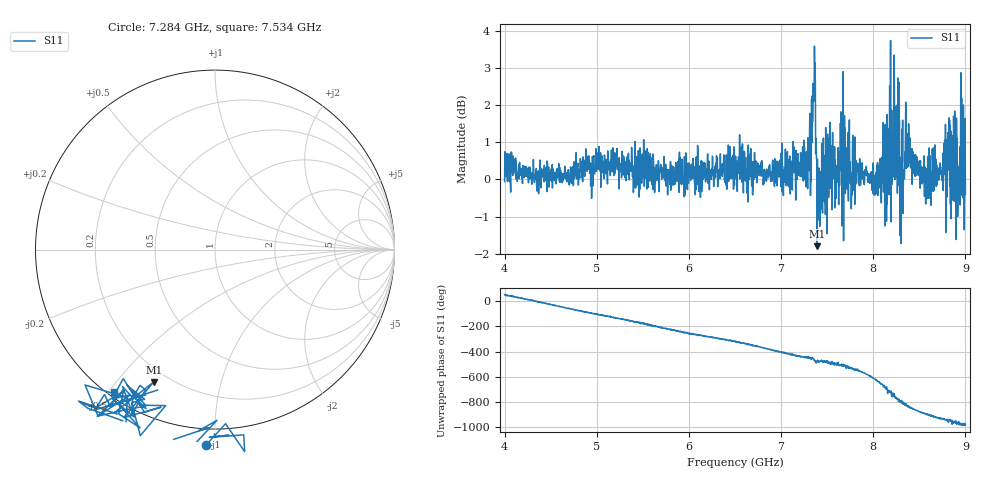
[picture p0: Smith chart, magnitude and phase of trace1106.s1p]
! Created with skrf 1.8.0 (http://scikit-rf.org).
# Hz S RI R 50.0
!freq ReS11 ImS11
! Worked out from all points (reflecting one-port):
!   1601 points, 4 GHz to 9 GHz, reference 50 ohm
!   lowest |S11| = -1.8 dB at 7.391 GHz (marker M1), VSWR 9.69, Z = 7.23 - j31.5 ohm
!   phase of S11 starts at 54 deg and turns -1033 deg over the sweep
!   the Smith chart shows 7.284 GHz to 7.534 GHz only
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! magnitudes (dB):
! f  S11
! 4 GHz  -0.1
! 4.625 GHz  -0.1
! 5.016 GHz  0.7
! 5.25 GHz  0.4
! 5.875 GHz  0.2
! 6.5 GHz  0.1
! 7.125 GHz  0.4
! 7.303 GHz  0.4
! 7.356 GHz  2.3
! 7.391 GHz  -1.8
! 7.412 GHz  -0.7
! 7.509 GHz  0.4
! 7.609 GHz  0.3
! 7.669 GHz  1.1
! 7.75 GHz  0.2
! 8.038 GHz  0.4
! 8.15 GHz  -0.7
! 8.162 GHz  0.5
! 8.169 GHz  1.2
! 8.253 GHz  0.5
! 8.312 GHz  1.4
! 8.334 GHz  0.2
! 8.375 GHz  1.2
! 8.578 GHz  0.3
! 8.816 GHz  0.3
! 8.919 GHz  -0.5
! 8.972 GHz  0.4
! 9 GHz  -0.4
